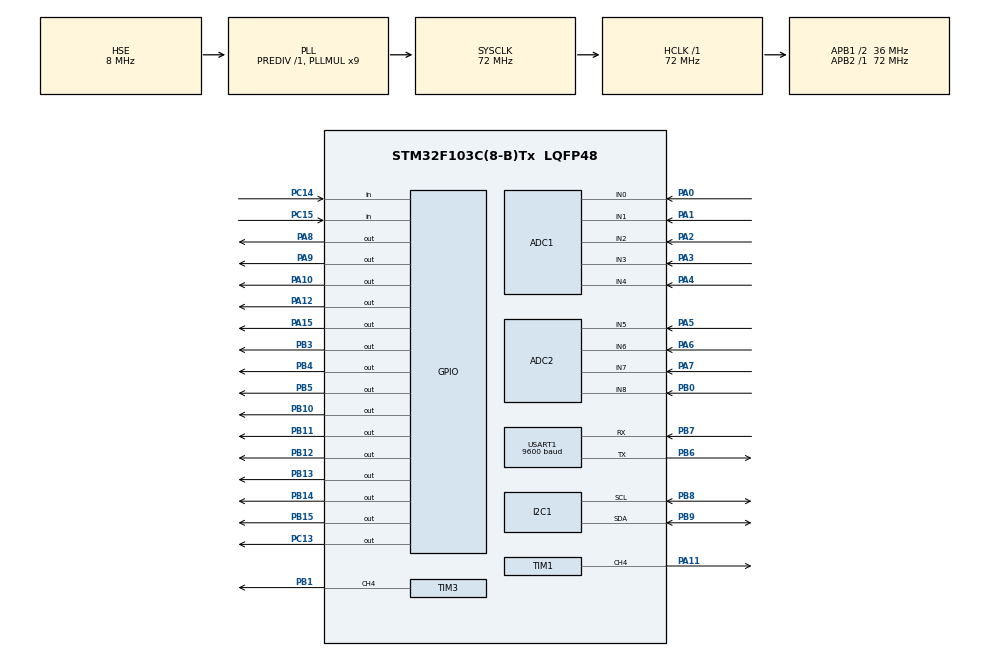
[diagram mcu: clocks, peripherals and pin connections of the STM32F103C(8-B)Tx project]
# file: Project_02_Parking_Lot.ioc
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ADC1.Channel-0\#ChannelRegularConversion=ADC_CHANNEL_0
ADC1.Channel-1\#ChannelRegularConversion=ADC_CHANNEL_1
ADC1.Channel-10\#ChannelRegularConversion=ADC_CHANNEL_3
ADC1.Channel-11\#ChannelRegularConversion=ADC_CHANNEL_4
ADC1.Channel-9\#ChannelRegularConversion=ADC_CHANNEL_2
ADC1.ContinuousConvMode=ENABLE
ADC1.DiscontinuousConvMode=DISABLE
ADC1.NbrOfConversion=5
ADC1.NbrOfConversionFlag=1
ADC1.Rank-0\#ChannelRegularConversion=1
ADC1.Rank-1\#ChannelRegularConversion=2
ADC1.Rank-10\#ChannelRegularConversion=4
ADC1.Rank-11\#ChannelRegularConversion=5
ADC1.Rank-9\#ChannelRegularConversion=3
ADC1.SamplingTime-0\#ChannelRegularConversion=ADC_SAMPLETIME_239CYCLES_5
ADC1.SamplingTime-1\#ChannelRegularConversion=ADC_SAMPLETIME_239CYCLES_5
ADC1.SamplingTime-10\#ChannelRegularConversion=ADC_SAMPLETIME_239CYCLES_5
ADC1.SamplingTime-11\#ChannelRegularConversion=ADC_SAMPLETIME_239CYCLES_5
ADC1.SamplingTime-9\#ChannelRegularConversion=ADC_SAMPLETIME_239CYCLES_5
ADC1.master=1
ADC2.Channel-1\#ChannelRegularConversion=ADC_CHANNEL_5
ADC2.Channel-2\#ChannelRegularConversion=ADC_CHANNEL_6
ADC2.Channel-3\#ChannelRegularConversion=ADC_CHANNEL_7
ADC2.Channel-4\#ChannelRegularConversion=ADC_CHANNEL_8
ADC2.ContinuousConvMode=ENABLE
ADC2.NbrOfConversion=4
ADC2.NbrOfConversionFlag=1
ADC2.Rank-1\#ChannelRegularConversion=1
ADC2.Rank-2\#ChannelRegularConversion=2
ADC2.Rank-3\#ChannelRegularConversion=3
ADC2.Rank-4\#ChannelRegularConversion=4
ADC2.SamplingTime-1\#ChannelRegularConversion=ADC_SAMPLETIME_239CYCLES_5
ADC2.SamplingTime-2\#ChannelRegularConversion=ADC_SAMPLETIME_239CYCLES_5
ADC2.SamplingTime-3\#ChannelRegularConversion=ADC_SAMPLETIME_239CYCLES_5
ADC2.SamplingTime-4\#ChannelRegularConversion=ADC_SAMPLETIME_239CYCLES_5
Mcu.Family=STM32F1
Mcu.Name=STM32F103C(8-B)Tx
Mcu.Package=LQFP48
NVIC.PriorityGroup=NVIC_PRIORITYGROUP_4
NVIC.TIM1_TRG_COM_IRQn=true\:0\:0\:false\:false\:true\:true\:true
NVIC.TIM2_IRQn=true\:0\:0\:false\:true\:true\:2\:true\:true
NVIC.TIM3_IRQn=true\:0\:0\:false\:true\:true\:1\:true\:true
NVIC.TIM4_IRQn=true\:0\:0\:false\:false\:true\:false\:true
NVIC.TimeBase=TIM4_IRQn
NVIC.TimeBaseIP=TIM4
NVIC.USART1_IRQn=true\:0\:0\:false\:false\:true\:true\:true
PA0-WKUP.Signal=ADCx_IN0
PA1.Signal=ADCx_IN1
PA10.Signal=GPIO_Output
PA11.Signal=S_TIM1_CH4
PA12.Signal=GPIO_Output
PA13.Mode=Serial_Wire
PA13.Signal=SYS_JTMS-SWDIO
PA14.Mode=Serial_Wire
PA14.Signal=SYS_JTCK-SWCLK
PA15.Signal=GPIO_Output
PA2.Signal=ADCx_IN2
PA3.Signal=ADCx_IN3
PA4.Signal=ADCx_IN4
PA5.Signal=ADCx_IN5
PA6.Signal=ADCx_IN6
PA7.Signal=ADCx_IN7
PA8.Signal=GPIO_Output
PA9.Signal=GPIO_Output
PB0.Signal=ADCx_IN8
PB1.Signal=S_TIM3_CH4
PB10.Signal=GPIO_Output
PB11.Signal=GPIO_Output
PB12.Signal=GPIO_Output
PB13.Signal=GPIO_Output
PB14.Signal=GPIO_Output
PB15.Signal=GPIO_Output
PB3.Signal=GPIO_Output
PB4.Signal=GPIO_Output
PB5.Signal=GPIO_Output
PB6.Mode=Asynchronous
PB6.Signal=USART1_TX
PB7.Mode=Asynchronous
PB7.Signal=USART1_RX
PB8.Mode=I2C
PB8.Signal=I2C1_SCL
PB9.Mode=I2C
PB9.Signal=I2C1_SDA
PC13-TAMPER-RTC.Signal=GPIO_Output
PC14-OSC32_IN.Signal=GPIO_Input
PC15-OSC32_OUT.Signal=GPIO_Input
PD0-OSC_IN.Mode=HSE-External-Oscillator
PD0-OSC_IN.Signal=RCC_OSC_IN
PD1-OSC_OUT.Mode=HSE-External-Oscillator
PD1-OSC_OUT.Signal=RCC_OSC_OUT
ProjectManager.HeapSize=0x200
ProjectManager.StackSize=0x400
ProjectManager.TargetToolchain=STM32CubeIDE
RCC.ADCPresc=RCC_ADCPCLK2_DIV6
RCC.AHBFreq_Value=72000000
RCC.APB1CLKDivider=RCC_HCLK_DIV2
RCC.APB1Freq_Value=36000000
RCC.APB1TimFreq_Value=72000000
RCC.APB2Freq_Value=72000000
RCC.APB2TimFreq_Value=72000000
RCC.HCLKFreq_Value=72000000
RCC.PLLMUL=RCC_PLL_MUL9
RCC.PLLSourceVirtual=RCC_PLLSOURCE_HSE
RCC.SYSCLKFreq_VALUE=72000000
RCC.SYSCLKSource=RCC_SYSCLKSOURCE_PLLCLK
RCC.USBFreq_Value=72000000
SH.ADCx_IN0.0=ADC1_IN0,IN0
SH.ADCx_IN1.0=ADC1_IN1,IN1
SH.ADCx_IN2.0=ADC1_IN2,IN2
SH.ADCx_IN3.0=ADC1_IN3,IN3
SH.ADCx_IN4.0=ADC1_IN4,IN4
SH.ADCx_IN5.0=ADC2_IN5,IN5
SH.ADCx_IN6.0=ADC2_IN6,IN6
SH.ADCx_IN7.0=ADC2_IN7,IN7
SH.ADCx_IN8.0=ADC2_IN8,IN8
SH.S_TIM1_CH4.0=TIM1_CH4,PWM Generation4 CH4
SH.S_TIM3_CH4.0=TIM3_CH4,PWM Generation4 CH4
TIM1.Channel-PWM\ Generation4\ CH4=TIM_CHANNEL_4
TIM1.Period=2000-1
TIM1.Prescaler=1000-1
TIM2.Period=36-1
TIM2.Prescaler=5000-1
TIM3.Channel-PWM\ Generation4\ CH4=TIM_CHANNEL_4
TIM3.Period=2000-1
TIM3.Prescaler=1000-1
TIM3.Pulse-PWM\ Generation4\ CH4=50-1
USART1.BaudRate=9600
USART1.VirtualMode=VM_ASYNC
VP_SYS_VS_tim4.Mode=TIM4
VP_TIM2_VS_ClockSourceINT.Mode=Internal
board=custom

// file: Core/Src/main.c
/* USER CODE BEGIN Header */
/**
 ******************************************************************************
 * @file           : main.c
 * @brief          : Main program body
 ******************************************************************************
 * @attention
 *
 * <h2><center>&copy; Copyright (c) 2019 STMicroelectronics.
 * All rights reserved.</center></h2>
 *
 * This software component is licensed by ST under BSD 3-Clause license,
 * the "License"; You may not use this file except in compliance with the
 * License. You may obtain a copy of the License at:
 *                        opensource.org/licenses/BSD-3-Clause
 *
 ******************************************************************************
 */
/* USER CODE END Header */

#include "main.h"

ADC_HandleTypeDef hadc1;
ADC_HandleTypeDef hadc2;

I2C_HandleTypeDef hi2c1;

TIM_HandleTypeDef htim1;
TIM_HandleTypeDef htim2;
TIM_HandleTypeDef htim3;

UART_HandleTypeDef huart1;

/* USER CODE BEGIN PV */
uint8_t BT_RxData;
uint8_t BT_RxFlag = 0;
uint8_t BT_RxQueue[20] = {0,};

uint8_t motor_Flag = 0;
uint16_t motor_count = 0;
uint8_t floor = 0;
uint8_t parkingLot_Count = 0;
uint16_t deg_ent = 0;
uint16_t deg_ext = 0;
char buff[20];
char BT_Buff[20] = {0,};
/* USER CODE END PV */

void SystemClock_Config(void);
static void MX_GPIO_Init(void);
static void MX_ADC1_Init(void);
static void MX_I2C1_Init(void);
static void MX_TIM3_Init(void);
static void MX_ADC2_Init(void);
static void MX_TIM1_Init(void);
static void MX_TIM2_Init(void);
static void MX_USART1_UART_Init(void);
static void MX_NVIC_Init(void);

/* USER CODE BEGIN 0 */

void HAL_UART_RxCpltCallback(UART_HandleTypeDef *huart)
{
	if(huart->Instance == USART1)
	{
		HAL_GPIO_TogglePin(GPIOC, GPIO_PIN_13);
		Lift_Control_BT(BT_RxData);
		Gate_Control_BT(BT_RxData);
		static uint8_t tail = 0;
		if(BT_RxData != '\n')
		{
			BT_RxQueue[tail] = BT_RxData;
			tail++;
		}
		else
		{
			BT_RxQueue[tail] = '\0';
			tail = 0;
			BT_RxFlag = 1;
		}
		HAL_UART_Receive_IT(&huart1, &BT_RxData, 1);
	}

}
/* USER CODE END 0 */

int main(void)
{

  /* MCU Configuration--------------------------------------------------------*/

  /* Reset of all peripherals, Initializes the Flash interface and the Systick. */
  HAL_Init();

  /* Configure the system clock */
  SystemClock_Config();

  /* Initialize all configured peripherals */
  MX_GPIO_Init();
  MX_ADC1_Init();
  MX_I2C1_Init();
  MX_TIM3_Init();
  MX_ADC2_Init();
  MX_TIM1_Init();
  MX_TIM2_Init();
  MX_USART1_UART_Init();

  /* Initialize interrupts */
  MX_NVIC_Init();
  /* USER CODE BEGIN 2 */
	HAL_TIM_Base_Start_IT(&htim2);
	HAL_UART_Receive_IT(&huart1, &BT_RxData, 1);

	LCD_Init();
	StepMotorStop();
	ServoStart();
	ServoRunEntrance(deg_ent);
	ServoRunExit(deg_ext);

	HAL_GPIO_WritePin(GPIOC, GPIO_PIN_13, GPIO_PIN_RESET);

	uint32_t ADC_Value_1[6];
	uint32_t ADC_Value_2[4];
	uint8_t parkingLot_Flag[5];

  /* USER CODE END 2 */

  /* Infinite loop */
  /* USER CODE BEGIN WHILE */
	while (1)
	{

		ADC_Value_1_Write(hadc1, ADC_Value_1);
		Parking_Lot_ADC(ADC_Value_1, parkingLot_Flag);

		ADC_Value_2_Write(hadc2, ADC_Value_2);
		Gate_ADC(ADC_Value_2);

		Lift_Control();

		for (int i = 0 ; i < 5 ; i++)
		{
			parkingLot_Count += parkingLot_Flag[i];
		}

		Message_OutPut(parkingLot_Count, buff);

		LCD_goto_XY(0, 0);
		LCD_write_string(buff);

		sprintf(buff, "Available: %d", parkingLot_Count);
		LCD_goto_XY(1, 0);
		LCD_write_string(buff);

		sprintf(BT_Buff,"Parking Space: %d\n",parkingLot_Count);
		HAL_UART_Transmit(&huart1, &BT_Buff, sizeof(BT_Buff), 1000);
		sprintf(BT_Buff,"Current Floor: %d\n",floor + 1);
		HAL_UART_Transmit(&huart1, &BT_Buff, sizeof(BT_Buff), 1000);

		parkingLot_Count = 0;

	}

    /* USER CODE END WHILE */

    /* USER CODE BEGIN 3 */
	ServoStop();
  /* USER CODE END 3 */
}

void SystemClock_Config(void)
{
  RCC_OscInitTypeDef RCC_OscInitStruct = {0};
  RCC_ClkInitTypeDef RCC_ClkInitStruct = {0};
  RCC_PeriphCLKInitTypeDef PeriphClkInit = {0};

  /** Initializes the CPU, AHB and APB busses clocks
  */
  RCC_OscInitStruct.OscillatorType = RCC_OSCILLATORTYPE_HSE;
  RCC_OscInitStruct.HSEState = RCC_HSE_ON;
  RCC_OscInitStruct.HSEPredivValue = RCC_HSE_PREDIV_DIV1;
  RCC_OscInitStruct.HSIState = RCC_HSI_ON;
  RCC_OscInitStruct.PLL.PLLState = RCC_PLL_ON;
  RCC_OscInitStruct.PLL.PLLSource = RCC_PLLSOURCE_HSE;
  RCC_OscInitStruct.PLL.PLLMUL = RCC_PLL_MUL9;
  if (HAL_RCC_OscConfig(&RCC_OscInitStruct) != HAL_OK)
  {
    Error_Handler();
  }
  /** Initializes the CPU, AHB and APB busses clocks
  */
  RCC_ClkInitStruct.ClockType = RCC_CLOCKTYPE_HCLK|RCC_CLOCKTYPE_SYSCLK
                              |RCC_CLOCKTYPE_PCLK1|RCC_CLOCKTYPE_PCLK2;
  RCC_ClkInitStruct.SYSCLKSource = RCC_SYSCLKSOURCE_PLLCLK;
  RCC_ClkInitStruct.AHBCLKDivider = RCC_SYSCLK_DIV1;
  RCC_ClkInitStruct.APB1CLKDivider = RCC_HCLK_DIV2;
  RCC_ClkInitStruct.APB2CLKDivider = RCC_HCLK_DIV1;

  if (HAL_RCC_ClockConfig(&RCC_ClkInitStruct, FLASH_LATENCY_2) != HAL_OK)
  {
    Error_Handler();
  }
  PeriphClkInit.PeriphClockSelection = RCC_PERIPHCLK_ADC;
  PeriphClkInit.AdcClockSelection = RCC_ADCPCLK2_DIV6;
  if (HAL_RCCEx_PeriphCLKConfig(&PeriphClkInit) != HAL_OK)
  {
    Error_Handler();
  }
}

/**
  * @brief NVIC Configuration.
  * @retval None
  */
static void MX_NVIC_Init(void)
{
  /* TIM3_IRQn interrupt configuration */
  HAL_NVIC_SetPriority(TIM3_IRQn, 0, 0);
  HAL_NVIC_EnableIRQ(TIM3_IRQn);
  /* TIM2_IRQn interrupt configuration */
  HAL_NVIC_SetPriority(TIM2_IRQn, 0, 0);
  HAL_NVIC_EnableIRQ(TIM2_IRQn);
}

static void MX_ADC1_Init(void)
{

  ADC_ChannelConfTypeDef sConfig = {0};

  /** Common config
  */
  hadc1.Instance = ADC1;
  hadc1.Init.ScanConvMode = ADC_SCAN_ENABLE;
  hadc1.Init.ContinuousConvMode = ENABLE;
  hadc1.Init.DiscontinuousConvMode = DISABLE;
  hadc1.Init.ExternalTrigConv = ADC_SOFTWARE_START;
  hadc1.Init.DataAlign = ADC_DATAALIGN_RIGHT;
  hadc1.Init.NbrOfConversion = 5;
  if (HAL_ADC_Init(&hadc1) != HAL_OK)
  {
    Error_Handler();
  }
  /** Configure Regular Channel
  */
  sConfig.Channel = ADC_CHANNEL_0;
  sConfig.Rank = ADC_REGULAR_RANK_1;
  sConfig.SamplingTime = ADC_SAMPLETIME_239CYCLES_5;
  if (HAL_ADC_ConfigChannel(&hadc1, &sConfig) != HAL_OK)
  {
    Error_Handler();
  }
  /** Configure Regular Channel
  */
  sConfig.Channel = ADC_CHANNEL_1;
  sConfig.Rank = ADC_REGULAR_RANK_2;
  if (HAL_ADC_ConfigChannel(&hadc1, &sConfig) != HAL_OK)
  {
    Error_Handler();
  }
  /** Configure Regular Channel
  */
  sConfig.Channel = ADC_CHANNEL_2;
  sConfig.Rank = ADC_REGULAR_RANK_3;
  if (HAL_ADC_ConfigChannel(&hadc1, &sConfig) != HAL_OK)
  {
    Error_Handler();
  }
  /** Configure Regular Channel
  */
  sConfig.Channel = ADC_CHANNEL_3;
  sConfig.Rank = ADC_REGULAR_RANK_4;
  if (HAL_ADC_ConfigChannel(&hadc1, &sConfig) != HAL_OK)
  {
    Error_Handler();
  }
  /** Configure Regular Channel
  */
  sConfig.Channel = ADC_CHANNEL_4;
  sConfig.Rank = ADC_REGULAR_RANK_5;
  if (HAL_ADC_ConfigChannel(&hadc1, &sConfig) != HAL_OK)
  {
    Error_Handler();
  }

}

static void MX_ADC2_Init(void)
{

  ADC_ChannelConfTypeDef sConfig = {0};

  /** Common config
  */
  hadc2.Instance = ADC2;
  hadc2.Init.ScanConvMode = ADC_SCAN_ENABLE;
  hadc2.Init.ContinuousConvMode = ENABLE;
  hadc2.Init.DiscontinuousConvMode = DISABLE;
  hadc2.Init.ExternalTrigConv = ADC_SOFTWARE_START;
  hadc2.Init.DataAlign = ADC_DATAALIGN_RIGHT;
  hadc2.Init.NbrOfConversion = 4;
  if (HAL_ADC_Init(&hadc2) != HAL_OK)
  {
    Error_Handler();
  }
  /** Configure Regular Channel
  */
  sConfig.Channel = ADC_CHANNEL_5;
  sConfig.Rank = ADC_REGULAR_RANK_1;
  sConfig.SamplingTime = ADC_SAMPLETIME_239CYCLES_5;
  if (HAL_ADC_ConfigChannel(&hadc2, &sConfig) != HAL_OK)
  {
    Error_Handler();
  }
  /** Configure Regular Channel
  */
  sConfig.Channel = ADC_CHANNEL_6;
  sConfig.Rank = ADC_REGULAR_RANK_2;
  if (HAL_ADC_ConfigChannel(&hadc2, &sConfig) != HAL_OK)
  {
    Error_Handler();
  }
  /** Configure Regular Channel
  */
  sConfig.Channel = ADC_CHANNEL_7;
  sConfig.Rank = ADC_REGULAR_RANK_3;
  if (HAL_ADC_ConfigChannel(&hadc2, &sConfig) != HAL_OK)
  {
    Error_Handler();
  }
  /** Configure Regular Channel
  */
  sConfig.Channel = ADC_CHANNEL_8;
  sConfig.Rank = ADC_REGULAR_RANK_4;
  if (HAL_ADC_ConfigChannel(&hadc2, &sConfig) != HAL_OK)
  {
    Error_Handler();
  }

}

static void MX_I2C1_Init(void)
{

  hi2c1.Instance = I2C1;
  hi2c1.Init.ClockSpeed = 100000;
  hi2c1.Init.DutyCycle = I2C_DUTYCYCLE_2;
  hi2c1.Init.OwnAddress1 = 0;
  hi2c1.Init.AddressingMode = I2C_ADDRESSINGMODE_7BIT;
  hi2c1.Init.DualAddressMode = I2C_DUALADDRESS_DISABLE;
  hi2c1.Init.OwnAddress2 = 0;
  hi2c1.Init.GeneralCallMode = I2C_GENERALCALL_DISABLE;
  hi2c1.Init.NoStretchMode = I2C_NOSTRETCH_DISABLE;
  if (HAL_I2C_Init(&hi2c1) != HAL_OK)
  {
    Error_Handler();
  }

}

static void MX_TIM1_Init(void)
{

  TIM_MasterConfigTypeDef sMasterConfig = {0};
  TIM_OC_InitTypeDef sConfigOC = {0};
  TIM_BreakDeadTimeConfigTypeDef sBreakDeadTimeConfig = {0};

  htim1.Instance = TIM1;
  htim1.Init.Prescaler = 1000-1;
  htim1.Init.CounterMode = TIM_COUNTERMODE_UP;
  htim1.Init.Period = 2000-1;
  htim1.Init.ClockDivision = TIM_CLOCKDIVISION_DIV1;
  htim1.Init.RepetitionCounter = 0;
  htim1.Init.AutoReloadPreload = TIM_AUTORELOAD_PRELOAD_DISABLE;
  if (HAL_TIM_PWM_Init(&htim1) != HAL_OK)
  {
    Error_Handler();
  }
  sMasterConfig.MasterOutputTrigger = TIM_TRGO_RESET;
  sMasterConfig.MasterSlaveMode = TIM_MASTERSLAVEMODE_DISABLE;
  if (HAL_TIMEx_MasterConfigSynchronization(&htim1, &sMasterConfig) != HAL_OK)
  {
    Error_Handler();
  }
  sConfigOC.OCMode = TIM_OCMODE_PWM1;
  sConfigOC.Pulse = 0;
  sConfigOC.OCPolarity = TIM_OCPOLARITY_HIGH;
  sConfigOC.OCFastMode = TIM_OCFAST_DISABLE;
  sConfigOC.OCIdleState = TIM_OCIDLESTATE_RESET;
  sConfigOC.OCNIdleState = TIM_OCNIDLESTATE_RESET;
  if (HAL_TIM_PWM_ConfigChannel(&htim1, &sConfigOC, TIM_CHANNEL_4) != HAL_OK)
  {
    Error_Handler();
  }
  sBreakDeadTimeConfig.OffStateRunMode = TIM_OSSR_DISABLE;
  sBreakDeadTimeConfig.OffStateIDLEMode = TIM_OSSI_DISABLE;
  sBreakDeadTimeConfig.LockLevel = TIM_LOCKLEVEL_OFF;
  sBreakDeadTimeConfig.DeadTime = 0;
  sBreakDeadTimeConfig.BreakState = TIM_BREAK_DISABLE;
  sBreakDeadTimeConfig.BreakPolarity = TIM_BREAKPOLARITY_HIGH;
  sBreakDeadTimeConfig.AutomaticOutput = TIM_AUTOMATICOUTPUT_DISABLE;
  if (HAL_TIMEx_ConfigBreakDeadTime(&htim1, &sBreakDeadTimeConfig) != HAL_OK)
  {
    Error_Handler();
  }
  HAL_TIM_MspPostInit(&htim1);

}

static void MX_TIM2_Init(void)
{

  TIM_ClockConfigTypeDef sClockSourceConfig = {0};
  TIM_MasterConfigTypeDef sMasterConfig = {0};

  htim2.Instance = TIM2;
  htim2.Init.Prescaler = 5000-1;
  htim2.Init.CounterMode = TIM_COUNTERMODE_UP;
  htim2.Init.Period = 36-1;
  htim2.Init.ClockDivision = TIM_CLOCKDIVISION_DIV1;
  htim2.Init.AutoReloadPreload = TIM_AUTORELOAD_PRELOAD_DISABLE;
  if (HAL_TIM_Base_Init(&htim2) != HAL_OK)
  {
    Error_Handler();
  }
  sClockSourceConfig.ClockSource = TIM_CLOCKSOURCE_INTERNAL;
  if (HAL_TIM_ConfigClockSource(&htim2, &sClockSourceConfig) != HAL_OK)
  {
    Error_Handler();
  }
  sMasterConfig.MasterOutputTrigger = TIM_TRGO_RESET;
  sMasterConfig.MasterSlaveMode = TIM_MASTERSLAVEMODE_DISABLE;
  if (HAL_TIMEx_MasterConfigSynchronization(&htim2, &sMasterConfig) != HAL_OK)
  {
    Error_Handler();
  }

}

static void MX_TIM3_Init(void)
{

  TIM_MasterConfigTypeDef sMasterConfig = {0};
  TIM_OC_InitTypeDef sConfigOC = {0};

  htim3.Instance = TIM3;
  htim3.Init.Prescaler = 1000-1;
  htim3.Init.CounterMode = TIM_COUNTERMODE_UP;
  htim3.Init.Period = 2000-1;
  htim3.Init.ClockDivision = TIM_CLOCKDIVISION_DIV1;
  htim3.Init.AutoReloadPreload = TIM_AUTORELOAD_PRELOAD_DISABLE;
  if (HAL_TIM_PWM_Init(&htim3) != HAL_OK)
  {
    Error_Handler();
  }
  sMasterConfig.MasterOutputTrigger = TIM_TRGO_RESET;
  sMasterConfig.MasterSlaveMode = TIM_MASTERSLAVEMODE_DISABLE;
  if (HAL_TIMEx_MasterConfigSynchronization(&htim3, &sMasterConfig) != HAL_OK)
  {
    Error_Handler();
  }
  sConfigOC.OCMode = TIM_OCMODE_PWM1;
  sConfigOC.Pulse = 50-1;
  sConfigOC.OCPolarity = TIM_OCPOLARITY_HIGH;
  sConfigOC.OCFastMode = TIM_OCFAST_DISABLE;
  if (HAL_TIM_PWM_ConfigChannel(&htim3, &sConfigOC, TIM_CHANNEL_4) != HAL_OK)
  {
    Error_Handler();
  }
  HAL_TIM_MspPostInit(&htim3);

}

static void MX_USART1_UART_Init(void)
{

  huart1.Instance = USART1;
  huart1.Init.BaudRate = 9600;
  huart1.Init.WordLength = UART_WORDLENGTH_8B;
  huart1.Init.StopBits = UART_STOPBITS_1;
  huart1.Init.Parity = UART_PARITY_NONE;
  huart1.Init.Mode = UART_MODE_TX_RX;
  huart1.Init.HwFlowCtl = UART_HWCONTROL_NONE;
  huart1.Init.OverSampling = UART_OVERSAMPLING_16;
  if (HAL_UART_Init(&huart1) != HAL_OK)
  {
    Error_Handler();
  }

}

static void MX_GPIO_Init(void)
{
  GPIO_InitTypeDef GPIO_InitStruct = {0};

  /* GPIO Ports Clock Enable */
  __HAL_RCC_GPIOC_CLK_ENABLE();
  __HAL_RCC_GPIOD_CLK_ENABLE();
  __HAL_RCC_GPIOA_CLK_ENABLE();
  __HAL_RCC_GPIOB_CLK_ENABLE();

  /*Configure GPIO pin Output Level */
  HAL_GPIO_WritePin(GPIOC, GPIO_PIN_13, GPIO_PIN_RESET);

  /*Configure GPIO pin Output Level */
  HAL_GPIO_WritePin(GPIOB, GPIO_PIN_10|GPIO_PIN_11|GPIO_PIN_12|GPIO_PIN_13
                          |GPIO_PIN_14|GPIO_PIN_15|GPIO_PIN_3|GPIO_PIN_4
                          |GPIO_PIN_5, GPIO_PIN_RESET);

  /*Configure GPIO pin Output Level */
  HAL_GPIO_WritePin(GPIOA, GPIO_PIN_8|GPIO_PIN_9|GPIO_PIN_10|GPIO_PIN_12
                          |GPIO_PIN_15, GPIO_PIN_RESET);

  /*Configure GPIO pin : PC13 */
  GPIO_InitStruct.Pin = GPIO_PIN_13;
  GPIO_InitStruct.Mode = GPIO_MODE_OUTPUT_PP;
  GPIO_InitStruct.Pull = GPIO_NOPULL;
  GPIO_InitStruct.Speed = GPIO_SPEED_FREQ_LOW;
  HAL_GPIO_Init(GPIOC, &GPIO_InitStruct);

  /*Configure GPIO pins : PC14 PC15 */
  GPIO_InitStruct.Pin = GPIO_PIN_14|GPIO_PIN_15;
  GPIO_InitStruct.Mode = GPIO_MODE_INPUT;
  GPIO_InitStruct.Pull = GPIO_NOPULL;
  HAL_GPIO_Init(GPIOC, &GPIO_InitStruct);

  /*Configure GPIO pins : PB10 PB11 PB12 PB13
                           PB14 PB15 PB3 PB4
                           PB5 */
  GPIO_InitStruct.Pin = GPIO_PIN_10|GPIO_PIN_11|GPIO_PIN_12|GPIO_PIN_13
                          |GPIO_PIN_14|GPIO_PIN_15|GPIO_PIN_3|GPIO_PIN_4
                          |GPIO_PIN_5;
  GPIO_InitStruct.Mode = GPIO_MODE_OUTPUT_PP;
  GPIO_InitStruct.Pull = GPIO_NOPULL;
  GPIO_InitStruct.Speed = GPIO_SPEED_FREQ_LOW;
  HAL_GPIO_Init(GPIOB, &GPIO_InitStruct);

  /*Configure GPIO pins : PA8 PA9 PA10 PA12
                           PA15 */
  GPIO_InitStruct.Pin = GPIO_PIN_8|GPIO_PIN_9|GPIO_PIN_10|GPIO_PIN_12
                          |GPIO_PIN_15;
  GPIO_InitStruct.Mode = GPIO_MODE_OUTPUT_PP;
  GPIO_InitStruct.Pull = GPIO_NOPULL;
  GPIO_InitStruct.Speed = GPIO_SPEED_FREQ_LOW;
  HAL_GPIO_Init(GPIOA, &GPIO_InitStruct);

}

void HAL_TIM_PeriodElapsedCallback(TIM_HandleTypeDef *htim)
{
  /* USER CODE BEGIN Callback 0 */

	if(htim->Instance == TIM2)
	{
		Lift_Action();
	}
  /* USER CODE END Callback 0 */
  if (htim->Instance == TIM4) {
    HAL_IncTick();
  }
}

void Error_Handler(void)
{
}

/************************ (C) COPYRIGHT STMicroelectronics *****END OF FILE****/
